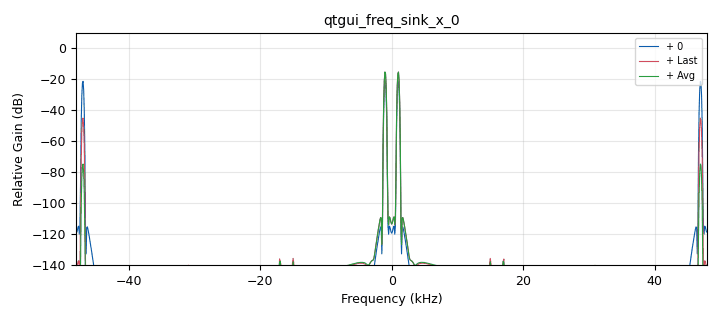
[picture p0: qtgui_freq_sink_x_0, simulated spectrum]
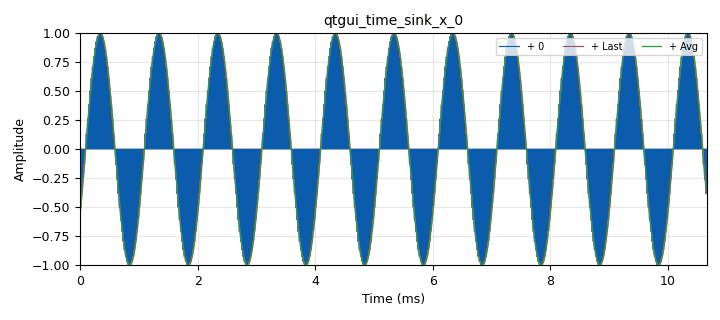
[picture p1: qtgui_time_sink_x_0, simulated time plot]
options:
  parameters:
    generate_options: qt_gui
    id: lab3_1
    output_language: python
    title: Not titled yet
  states: {}

blocks:
- name: freq
  id: variable_qtgui_range
  parameters:
    start: '0'
    step: '1000'
    stop: '24000'
    value: '1000'
  states: {}
- name: samp_rate
  id: variable
  parameters:
    value: '48000'
  states: {}
- name: analog_const_source_x_0
  id: analog_const_source_x
  parameters:
    const: '0'
    type: float
  states: {}
- name: analog_const_source_x_0_0
  id: analog_const_source_x
  parameters:
    const: '2'
    type: float
  states: {}
- name: analog_sig_source_x_0
  id: analog_sig_source_x
  parameters:
    amp: '1'
    freq: freq
    offset: '0'
    phase: '0'
    samp_rate: samp_rate
    type: float
    waveform: analog.GR_COS_WAVE
  states: {}
- name: blocks_add_xx_0
  id: blocks_add_xx
  parameters:
    type: float
  states: {}
- name: blocks_delay_0
  id: blocks_delay
  parameters:
    delay: '0'
    type: float
  states: {}
- name: blocks_delay_0_0_0
  id: blocks_delay
  parameters:
    delay: '1'
    type: float
  states: {}
- name: blocks_divide_xx_0
  id: blocks_divide_xx
  parameters:
    type: float
  states: {}
- name: blocks_interleave_0
  id: blocks_interleave
  parameters:
    type: float
  states: {}
- name: blocks_interleave_0_0
  id: blocks_interleave
  parameters:
    type: float
  states: {}
- name: blocks_interleave_0_0_0
  id: blocks_interleave
  parameters:
    type: float
  states: {}
- name: qtgui_freq_sink_x_0
  id: qtgui_freq_sink_x
  parameters:
    average: '0.05'
    bw: samp_rate*2
    fc: '0'
    fftsize: '1024'
    label1: + 0
    label2: + Last
    label3: + Avg
    nconnections: '3'
    type: float
  states: {}
- name: qtgui_time_sink_x_0
  id: qtgui_time_sink_x
  parameters:
    label1: + 0
    label2: + Last
    label3: + Avg
    nconnections: '3'
    size: '1024'
    srate: samp_rate*2
    type: float
  states: {}

connections:
- [analog_const_source_x_0, '0', blocks_interleave_0, '1']
- [analog_const_source_x_0_0, '0', blocks_divide_xx_0, '1']
- [analog_sig_source_x_0, '0', blocks_add_xx_0, '0']
- [analog_sig_source_x_0, '0', blocks_delay_0, '0']
- [analog_sig_source_x_0, '0', blocks_delay_0_0_0, '0']
- [analog_sig_source_x_0, '0', blocks_interleave_0, '0']
- [analog_sig_source_x_0, '0', blocks_interleave_0_0, '0']
- [analog_sig_source_x_0, '0', blocks_interleave_0_0_0, '1']
- [blocks_add_xx_0, '0', blocks_divide_xx_0, '0']
- [blocks_delay_0, '0', blocks_interleave_0_0, '1']
- [blocks_delay_0_0_0, '0', blocks_add_xx_0, '1']
- [blocks_divide_xx_0, '0', blocks_interleave_0_0_0, '0']
- [blocks_interleave_0, '0', qtgui_freq_sink_x_0, '0']
- [blocks_interleave_0, '0', qtgui_time_sink_x_0, '0']
- [blocks_interleave_0_0, '0', qtgui_freq_sink_x_0, '1']
- [blocks_interleave_0_0, '0', qtgui_time_sink_x_0, '1']
- [blocks_interleave_0_0_0, '0', qtgui_freq_sink_x_0, '2']
- [blocks_interleave_0_0_0, '0', qtgui_time_sink_x_0, '2']

metadata:
  file_format: 1
  grc_version: 3.10.5.1
